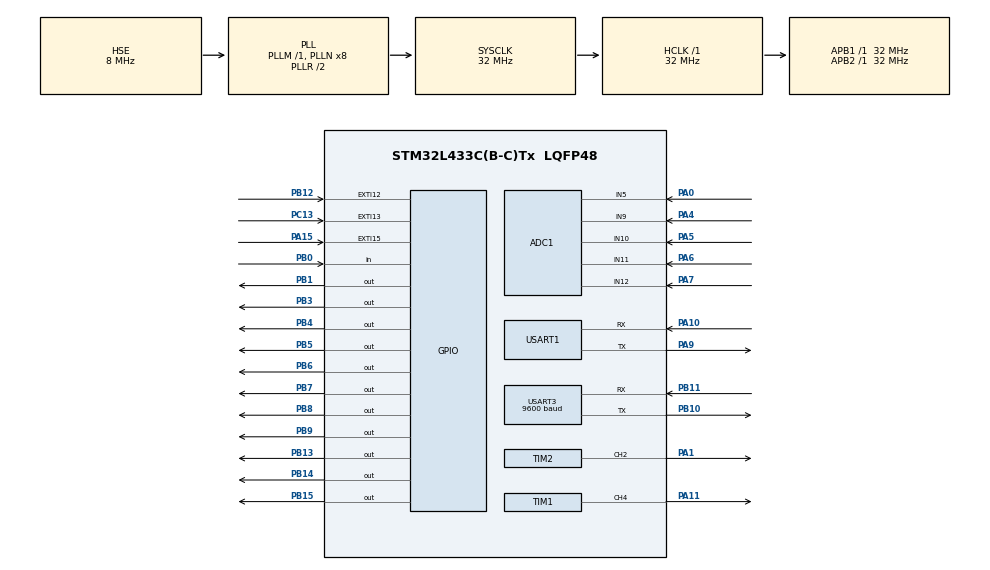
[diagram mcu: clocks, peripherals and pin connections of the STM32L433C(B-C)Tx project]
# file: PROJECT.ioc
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ADC1.Channel-0\#ChannelRegularConversion=ADC_CHANNEL_9
ADC1.Channel-1\#ChannelRegularConversion=ADC_CHANNEL_11
ADC1.Channel-2\#ChannelRegularConversion=ADC_CHANNEL_5
ADC1.Channel-3\#ChannelRegularConversion=ADC_CHANNEL_10
ADC1.Channel-4\#ChannelRegularConversion=ADC_CHANNEL_12
ADC1.ContinuousConvMode=ENABLE
ADC1.DMAContinuousRequests=ENABLE
ADC1.NbrOfConversion=5
ADC1.NbrOfConversionFlag=1
ADC1.OffsetNumber-0\#ChannelRegularConversion=ADC_OFFSET_NONE
ADC1.OffsetNumber-1\#ChannelRegularConversion=ADC_OFFSET_NONE
ADC1.OffsetNumber-2\#ChannelRegularConversion=ADC_OFFSET_NONE
ADC1.OffsetNumber-3\#ChannelRegularConversion=ADC_OFFSET_NONE
ADC1.OffsetNumber-4\#ChannelRegularConversion=ADC_OFFSET_NONE
ADC1.Rank-0\#ChannelRegularConversion=1
ADC1.Rank-1\#ChannelRegularConversion=2
ADC1.Rank-2\#ChannelRegularConversion=3
ADC1.Rank-3\#ChannelRegularConversion=4
ADC1.Rank-4\#ChannelRegularConversion=5
ADC1.SamplingTime-0\#ChannelRegularConversion=ADC_SAMPLETIME_2CYCLES_5
ADC1.SamplingTime-1\#ChannelRegularConversion=ADC_SAMPLETIME_2CYCLES_5
ADC1.SamplingTime-2\#ChannelRegularConversion=ADC_SAMPLETIME_2CYCLES_5
ADC1.SamplingTime-3\#ChannelRegularConversion=ADC_SAMPLETIME_2CYCLES_5
ADC1.SamplingTime-4\#ChannelRegularConversion=ADC_SAMPLETIME_2CYCLES_5
ADC1.master=1
Dma.ADC1.0.Direction=DMA_PERIPH_TO_MEMORY
Dma.ADC1.0.Instance=DMA1_Channel1
Dma.ADC1.0.MemDataAlignment=DMA_MDATAALIGN_HALFWORD
Dma.ADC1.0.MemInc=DMA_MINC_ENABLE
Dma.ADC1.0.Mode=DMA_NORMAL
Dma.ADC1.0.PeriphDataAlignment=DMA_PDATAALIGN_HALFWORD
Dma.ADC1.0.PeriphInc=DMA_PINC_DISABLE
Dma.ADC1.0.Priority=DMA_PRIORITY_LOW
Dma.Request0=ADC1
Mcu.Family=STM32L4
Mcu.Name=STM32L433C(B-C)Tx
Mcu.Package=LQFP48
NVIC.DMA1_Channel1_IRQn=true\:0\:0\:false\:false\:true\:false\:true\:true
NVIC.EXTI15_10_IRQn=true\:4\:0\:true\:false\:true\:true\:true\:true
NVIC.PriorityGroup=NVIC_PRIORITYGROUP_4
NVIC.TIM1_BRK_TIM15_IRQn=true\:0\:0\:false\:false\:true\:true\:true\:true
NVIC.TIM2_IRQn=true\:0\:0\:false\:false\:true\:true\:true\:true
NVIC.USART1_IRQn=true\:3\:0\:true\:false\:true\:true\:true\:true
NVIC.USART3_IRQn=true\:1\:0\:true\:false\:true\:true\:true\:true
PA0.Signal=ADCx_IN5
PA1.Signal=S_TIM2_CH2
PA10.Mode=Asynchronous
PA10.Signal=USART1_RX
PA11.Signal=S_TIM1_CH4
PA15\ (JTDI).GPIO_PuPd=GPIO_PULLUP
PA15\ (JTDI).Signal=GPXTI15
PA4.Signal=ADCx_IN9
PA5.Signal=ADCx_IN10
PA6.Signal=ADCx_IN11
PA7.Signal=ADCx_IN12
PA9.Mode=Asynchronous
PA9.Signal=USART1_TX
PB0.Signal=GPIO_Input
PB1.Signal=GPIO_Output
PB10.Mode=Asynchronous
PB10.Signal=USART3_TX
PB11.Mode=Asynchronous
PB11.Signal=USART3_RX
PB12.GPIO_PuPd=GPIO_PULLUP
PB12.Signal=GPXTI12
PB13.Signal=GPIO_Output
PB14.Signal=GPIO_Output
PB15.Signal=GPIO_Output
PB3\ (JTDO-TRACESWO).Signal=GPIO_Output
PB4\ (NJTRST).PinState=GPIO_PIN_RESET
PB4\ (NJTRST).Signal=GPIO_Output
PB5.PinState=GPIO_PIN_SET
PB5.Signal=GPIO_Output
PB6.PinState=GPIO_PIN_SET
PB6.Signal=GPIO_Output
PB7.PinState=GPIO_PIN_SET
PB7.Signal=GPIO_Output
PB8.Signal=GPIO_Output
PB9.Signal=GPIO_Output
PC13.GPIO_PuPd=GPIO_PULLUP
PC13.Signal=GPXTI13
PC14-OSC32_IN\ (PC14).Mode=LSE-External-Oscillator
PC14-OSC32_IN\ (PC14).Signal=RCC_OSC32_IN
PC15-OSC32_OUT\ (PC15).Mode=LSE-External-Oscillator
PC15-OSC32_OUT\ (PC15).Signal=RCC_OSC32_OUT
PH0-OSC_IN\ (PH0).Mode=HSE-External-Oscillator
PH0-OSC_IN\ (PH0).Signal=RCC_OSC_IN
PH1-OSC_OUT\ (PH1).Mode=HSE-External-Oscillator
PH1-OSC_OUT\ (PH1).Signal=RCC_OSC_OUT
ProjectManager.HeapSize=0x200
ProjectManager.StackSize=0x400
ProjectManager.TargetToolchain=STM32CubeIDE
RCC.ADCFreq_Value=64000000
RCC.AHBFreq_Value=32000000
RCC.APB1Freq_Value=32000000
RCC.APB1TimFreq_Value=32000000
RCC.APB2Freq_Value=32000000
RCC.APB2TimFreq_Value=32000000
RCC.CortexFreq_Value=32000000
RCC.HCLKFreq_Value=32000000
RCC.HSE_VALUE=8000000
RCC.HSI48_VALUE=48000000
RCC.HSI_VALUE=16000000
RCC.MSI_VALUE=4000000
RCC.PLLSAI1N=16
RCC.PLLSourceVirtual=RCC_PLLSOURCE_HSE
RCC.SYSCLKFreq_VALUE=32000000
RCC.SYSCLKSource=RCC_SYSCLKSOURCE_PLLCLK
RCC.USBFreq_Value=64000000
RCC.VCOOutputFreq_Value=64000000
SH.ADCx_IN10.0=ADC1_IN10,IN10-Single-Ended
SH.ADCx_IN11.0=ADC1_IN11,IN11-Single-Ended
SH.ADCx_IN12.0=ADC1_IN12,IN12-Single-Ended
SH.ADCx_IN5.0=ADC1_IN5,IN5-Single-Ended
SH.ADCx_IN9.0=ADC1_IN9,IN9-Single-Ended
SH.S_TIM1_CH4.0=TIM1_CH4,PWM Generation4 CH4
SH.S_TIM2_CH2.0=TIM2_CH2,PWM Generation2 CH2
TIM1.Channel-PWM\ Generation4\ CH4=TIM_CHANNEL_4
TIM1.Period=26
TIM1.Prescaler=32-1
TIM1.Pulse-PWM\ Generation4\ CH4=0
TIM15.Period=100-1
TIM15.Prescaler=32-1
TIM2.Channel-PWM\ Generation2\ CH2=TIM_CHANNEL_2
TIM2.Period=370-1
TIM2.Prescaler=32-1
TIM2.Pulse-PWM\ Generation2\ CH2=180
USART1.VirtualMode-Asynchronous=VM_ASYNC
USART3.BaudRate=9600
USART3.VirtualMode-Asynchronous=VM_ASYNC
VP_TIM15_VS_ClockSourceINT.Mode=Internal
VP_TIM1_VS_ClockSourceINT.Mode=Internal
board=custom

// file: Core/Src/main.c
/* USER CODE BEGIN Header */
/**
 ******************************************************************************
 * @file           : main.c
 * @brief          : Main program body
 ******************************************************************************
 * @attention
 *
 * <h2><center>&copy; Copyright (c) 2019 STMicroelectronics.
 * All rights reserved.</center></h2>
 *
 * This software component is licensed by ST under BSD 3-Clause license,
 * the "License"; You may not use this file except in compliance with the
 * License. You may obtain a copy of the License at:
 *                        opensource.org/licenses/BSD-3-Clause
 *
 ******************************************************************************
 */
/* USER CODE END Header */
#include "main.h"
#include "adc.h"
#include "dma.h"
#include "tim.h"
#include "usart.h"
#include "gpio.h"

/* USER CODE BEGIN Includes */
#include <stdio.h>
#include <string.h>
#include <stdlib.h>
#include <stdbool.h>
#include "oled.h"
#include "utils.h"
#include "nbiot.h"
#include "sht3x.h"
#ifdef KY_005_IR_ENISSION
#include "irsnd.h"
#endif

#ifdef KY_022_IR_RECEIVER
#include "irmp.h"
#endif
/* USER CODE END Includes */

/* USER CODE BEGIN PD */
#define LIGHT_DARK_THRESHOLD            (200U)
#define SOUND_NOTICE_THRESHOLD          (600U)
#define SOUND_SNORE_THRESHOLD           (1200U)
#define SENSOR_POLL_INTERVAL_MS         (1000U)
#define OLED_REFRESH_INTERVAL_MS        (500U)
#define ALARM_DURATION_MS               (5000U)
#define ALARM_DEFAULT_HOUR              (7U)
#define ALARM_DEFAULT_MIN               (0U)
#define SLEEP_CLOCK_START_HOUR          (0U)
#define ALARM_BOOT_DELAY_MS             (30000U)
#define LED_FLASH_INTERVAL_MS           (1000U)
#define MANUAL_ALARM_DELAY_MS           (5000U)
#define TIP_DISPLAY_DURATION_MS         (4000U)
#define CHARGE_VOLTAGE_THRESHOLD_MV     (4100U)
#define MELODY_REST_MS                  (30U)
/* USER CODE END PD */

/* USER CODE BEGIN PV */
extern unsigned char key1, key2;

typedef struct {
	uint8_t hour;
	uint8_t minute;
	uint8_t second;
} SleepClock_t;

static uint8_t gLedPowerOn = 0U;      // LED 总开关状态 (0:关, 1:开)
static uint8_t gHw483LastState = 0U;  // 按钮上一次的电平状态

static SleepClock_t gSleepClock = {SLEEP_CLOCK_START_HOUR, 0U, 0U};
static uint32_t gLastClockTickMs = 0U;
static uint32_t gLastSensorPollMs = 0U;
static uint32_t gLastOledRefreshMs = 0U;
static uint32_t gAlarmStartMs = 0U;
static uint32_t gBootTickMs = 0U;
static uint8_t gAlarmLatched = 0U;
static uint8_t gLedModuleEnabled = 0U;
static uint8_t gOledEnabled = 1U;
static uint8_t gAlarmActive = 0U;
static uint8_t gLedMode = 0U; /* LED_MODE_OFF */
static uint8_t gLedFlashIndex = 0U;
static uint32_t gLastLedFlashTick = 0U;
static float gLastTemp = 0.0f;
static float gLastHumi = 0.0f;
static uint16_t gLastLight = 0U;
static uint16_t gLastSound = 0U;
static uint16_t gLastVoltage = 0U;
static uint8_t gCurrentPage = 0U;
static char gPageTipBuf[32] = {0};
static uint8_t gTipPageActive = 0U;
static uint8_t gTipReturnPage = 0U;
static uint8_t gTipPrevPage = 0U;
static uint8_t gManualAlarmCountdownActive = 0U;
static uint32_t gManualAlarmTargetTick = 0U;
static uint8_t gLastRenderedPage = 0xFFU;
static uint8_t gOledNeedsFullRefresh = 1U;
static uint8_t gMelodyPlaying = 0U;
static size_t gMelodyIndex = 0U;
static uint32_t gMelodyStepEndMs = 0U;
static uint8_t gMelodyInPause = 0U;

enum
{
	LED_MODE_OFF = 0,
	LED_MODE_WHITE,
	LED_MODE_BLUE,
	LED_MODE_RED,
	LED_MODE_GREEN,
	LED_MODE_FLASH,
	LED_MODE_COUNT
};

enum
{
	OLED_PAGE_SENSORS_1 = 0,
	OLED_PAGE_SENSORS_2,
	OLED_PAGE_LED,
	OLED_PAGE_ALARM,
	OLED_PAGE_COUNT
};

/* USER CODE END PV */

void SystemClock_Config(void);

/* USER CODE BEGIN 0 */
static void SleepClock_Tick(void);
static void SleepClock_Format(char *pcBuf, size_t bufLen);
static bool SleepEnvironment_Comfort(float temp, float humi);
static uint8_t SleepComfort_Score(float temp, float humi, uint16_t soundLevel, uint16_t lightLevel);
static const char *SleepComfort_Tip(float temp, float humi, uint16_t soundLevel, uint16_t lightLevel);
static void SleepTracker_HandleKeys(void);
static void SleepTracker_UpdateSensors(void);
static void SleepTracker_UpdateAlarm(void);
static void SleepTracker_ShowBootScreen(void);
static uint32_t SleepTracker_GetTim2ClockHz(void);
static void SleepTracker_BuzzerStartTone(uint16_t freq);
static void SleepTracker_BuzzerStopTone(void);
static void SleepTracker_SetRgb(uint8_t rOn, uint8_t gOn, uint8_t bOn);
static void SleepTracker_DrawPageSensors1(void);
static void SleepTracker_DrawPageSensors2(void);
static void SleepTracker_DrawPageLed(void);
static void SleepTracker_DrawPageAlarm(void);
static void SleepTracker_DrawPageTip(void);
static void SleepTracker_HandleAlarmToggle(void);
static const char *SleepTracker_LedModeName(uint8_t mode);
static uint16_t SleepTracker_BatteryMv(uint16_t raw);
static void SleepTracker_MelodyStart(void);
static void SleepTracker_MelodyStop(void);
static void SleepTracker_MelodyTask(void);

typedef struct {
	uint16_t freq;
	uint16_t durationMs;
} ToneStep_t;

static const ToneStep_t gJingleBells[] = {
		{523, 150}, {0, 50}, {523, 150}, {0, 50}, // Do, Do
		    {659, 150}, {0, 50}, {659, 150}, {0, 50}, // Mi, Mi
		    {783, 400}, {0, 100},                     // Sol
		    {659, 200}, {783, 200}, {1046, 600},      // Mi Sol Do(High)
		    {0, 400},                                 // 休止
		    {1046, 200}, {783, 200}, {659, 200}, {523, 600} // Do(H) Sol Mi Do
};
static const size_t gJingleBellCount = sizeof(gJingleBells)/sizeof(gJingleBells[0]);

static void SleepTracker_HandleAlarmToggle(void)
{
	uint32_t now = HAL_GetTick();
	if(gAlarmActive) {
		gAlarmActive = 0U;
		Beep_Switch(0);
		return;
	}
	if(gManualAlarmCountdownActive) {
		gManualAlarmCountdownActive = 0U;
		return;
	}
	gManualAlarmCountdownActive = 1U;
	gManualAlarmTargetTick = now + MANUAL_ALARM_DELAY_MS;
}

static const char *SleepTracker_LedModeName(uint8_t mode)
{
	switch(mode) {
		case LED_MODE_OFF:   return "Off";
		case LED_MODE_WHITE: return "White";
		case LED_MODE_BLUE:  return "Green";
		case LED_MODE_RED:   return "Blue";
		case LED_MODE_GREEN: return "Red";
		case LED_MODE_FLASH: return "Flash";
		default: return "Unknown";
	}
}

static void SleepTracker_DrawPageSensors1(void)
{
	char buf[24] = {0};
	char timeBuf[12] = {0};
	SleepClock_Format(timeBuf, sizeof(timeBuf));
	snprintf(buf, sizeof(buf), "Time %s", timeBuf);
	OLED_ShowString(0, 0, (uint8_t *)buf, 8);
	snprintf(buf, sizeof(buf), "Temp:%4.1fC", gLastTemp);
	OLED_ShowString(0, 1, (uint8_t *)buf, 8);
	snprintf(buf, sizeof(buf), "Humi:%4.1f%%", gLastHumi);
	OLED_ShowString(0, 2, (uint8_t *)buf, 8);
	snprintf(buf, sizeof(buf), "Light:%04u", gLastLight);
	OLED_ShowString(0, 3, (uint8_t *)buf, 8);
	snprintf(buf, sizeof(buf), "Sound:%04u", gLastSound);
	OLED_ShowString(0, 4, (uint8_t *)buf, 8);
}

static void SleepTracker_DrawPageSensors2(void)
{
	char buf[24] = {0};
	uint8_t score = SleepComfort_Score(gLastTemp, gLastHumi, gLastSound, gLastLight);
	uint16_t batteryMv = SleepTracker_BatteryMv(gLastVoltage);
	bool charging = (batteryMv >= CHARGE_VOLTAGE_THRESHOLD_MV);
	snprintf(buf, sizeof(buf), "Volt:%04umV", batteryMv);
	OLED_ShowString(0, 0, (uint8_t *)buf, 8);
	snprintf(buf, sizeof(buf), "Charge:%s", charging ? "Yes" : "No");
	OLED_ShowString(0, 1, (uint8_t *)buf, 8);
	snprintf(buf, sizeof(buf), "Env:%3u%%", score);
	OLED_ShowString(0, 2, (uint8_t *)buf, 8);
	snprintf(buf, sizeof(buf), "Noise:%04u", gLastSound);
	OLED_ShowString(0, 3, (uint8_t *)buf, 8);
	OLED_ShowString(0, 4, (uint8_t *)"K2:Sleep tips", 8);
}

static void SleepTracker_DrawPageLed(void)
{
	char buf[24] = {0};
	snprintf(buf, sizeof(buf), "LED:%s", SleepTracker_LedModeName(gLedMode));
	OLED_ShowString(0, 0, (uint8_t *)buf, 8);
	OLED_ShowString(0, 1, (uint8_t *)"Seq:Off-W-G-B-R-F", 4);
	snprintf(buf, sizeof(buf), "Flash:%s", (LED_MODE_FLASH == gLedMode) ? "On" : "Off");
	OLED_ShowString(0, 2, (uint8_t *)buf, 8);
	OLED_ShowString(0, 3, (uint8_t *)"K2 cycle mode", 8);
}

static void SleepTracker_DrawPageAlarm(void)
{
	char buf[24] = {0};
	uint32_t now = HAL_GetTick();
	uint32_t remainingMs = 0U;
	if(gManualAlarmCountdownActive && gManualAlarmTargetTick > now) {
		remainingMs = gManualAlarmTargetTick - now;
	}
	snprintf(buf, sizeof(buf), "Alarm:%s", gAlarmActive ? "Ringing" : (gManualAlarmCountdownActive ? "Pending" : "Idle"));
	OLED_ShowString(0, 0, (uint8_t *)buf, 8);
	if(gManualAlarmCountdownActive) {
		snprintf(buf, sizeof(buf), "Countdown:%lus", (unsigned long)((remainingMs + 999U) / 1000U));
	} else {
		strncpy(buf, "Countdown:--", sizeof(buf) - 1U);
	}
	OLED_ShowString(0, 1, (uint8_t *)buf, 8);
	OLED_ShowString(0, 2, (uint8_t *)"K2 start/stop", 8);
	OLED_ShowString(0, 3, (uint8_t *)"2nd tap cancels", 8);
}

static void SleepTracker_DrawPageTip(void)
{
	OLED_ShowString(0, 0, (uint8_t *)"Sleep Tip", 8);
	OLED_ShowString(0, 2, (uint8_t *)gPageTipBuf, 8);
	OLED_ShowString(0, 3, (uint8_t *)(gPageTipBuf + 16), 8);
	OLED_ShowString(0, 5, (uint8_t *)"K2 to return", 8);
}

static void SleepClock_Tick(void)
{
	uint32_t nowMs = HAL_GetTick();
	if(0U == gLastClockTickMs) {
		gLastClockTickMs = nowMs;
	}
	if(nowMs < gLastClockTickMs + 1000U) {
		return;
	}
	uint32_t elapsed = (nowMs - gLastClockTickMs) / 1000U;
	gLastClockTickMs += elapsed * 1000U;
	while(elapsed--) {
		gSleepClock.second++;
		if(gSleepClock.second >= 60U) {
			gSleepClock.second = 0U;
			gSleepClock.minute++;
			if(gSleepClock.minute >= 60U) {
				gSleepClock.minute = 0U;
				gSleepClock.hour++;
				if(gSleepClock.hour >= 24U) {
					gSleepClock.hour = 0U;
				}
			}
		}
	}
}

static void SleepClock_Format(char *pcBuf, size_t bufLen)
{
	snprintf(pcBuf, bufLen, "%02u:%02u:%02u", gSleepClock.hour, gSleepClock.minute, gSleepClock.second);
}

static bool SleepEnvironment_Comfort(float temp, float humi)
{
	return (temp >= 18.0f && temp <= 26.5f) && (humi >= 40.0f && humi <= 65.0f);
}

static uint8_t SleepComfort_Score(float temp, float humi, uint16_t soundLevel, uint16_t lightLevel)
{
	uint8_t score = 100U;
	if(temp < 18.0f) {
		score -= (uint8_t)((18.0f - temp) * 2.0f);
	} else if(temp > 26.5f) {
		score -= (uint8_t)((temp - 26.5f) * 2.0f);
	}
	if(humi < 40.0f) {
		score -= (uint8_t)((40.0f - humi));
	} else if(humi > 65.0f) {
		score -= (uint8_t)((humi - 65.0f));
	}
	if(soundLevel >= SOUND_SNORE_THRESHOLD) {
		score -= 40U;
	} else if(soundLevel >= SOUND_NOTICE_THRESHOLD) {
		score -= 20U;
	}
	if(lightLevel > LIGHT_DARK_THRESHOLD) {
		score -= 15U;
	}
	if(score > 100U) {
		score = 0U;
	}
	return score;
}

static const char *SleepComfort_Tip(float temp, float humi, uint16_t soundLevel, uint16_t lightLevel)
{
	if(soundLevel >= SOUND_SNORE_THRESHOLD) {
		return "Tip:Noise very high";
	}
	if(soundLevel >= SOUND_NOTICE_THRESHOLD) {
		return "Tip:Noise slightly high";
	}
	if(lightLevel > LIGHT_DARK_THRESHOLD) {
		return "Tip:Dim the lights";
	}
	if(temp < 18.0f) {
		return "Tip:Room too cold";
	}
	if(temp > 26.5f) {
		return "Tip:Lower temp";
	}
	if(humi < 40.0f) {
		return "Tip:Add humidity";
	}
	if(humi > 65.0f) {
		return "Tip:Dry the air";
	}
	return "Tip:Environment ok";
}

static void SleepTracker_HandleKeys(void)
{
	if(1 == key1) {
		key1 = 0;
		if(gTipPageActive) {
			gTipPageActive = 0U;
			gCurrentPage = (gTipPrevPage + 1U) % OLED_PAGE_COUNT;
		} else {
			gCurrentPage = (gCurrentPage + 1U) % OLED_PAGE_COUNT;
		}
		memset(gPageTipBuf, 0, sizeof(gPageTipBuf));
		gOledNeedsFullRefresh = 1U;
	}
	if(1 == key2) {
		key2 = 0;
		if(gAlarmActive) {
			gAlarmActive = 0U;
			gManualAlarmCountdownActive = 0U;
			SleepTracker_MelodyStop();
			gOledNeedsFullRefresh = 1U;
			return;
		}
		if(gTipPageActive) {
			gTipPageActive = 0U;
			gCurrentPage = gTipReturnPage % OLED_PAGE_COUNT;
			gOledNeedsFullRefresh = 1U;
			return;
		}
		switch(gCurrentPage) {
			case OLED_PAGE_SENSORS_2:
			{
				const char *tip = SleepComfort_Tip(gLastTemp, gLastHumi, gLastSound, gLastLight);
				strncpy(gPageTipBuf, tip, sizeof(gPageTipBuf)-1U);
				gPageTipBuf[sizeof(gPageTipBuf)-1U] = '\0';
				gTipPrevPage = gCurrentPage;
				gTipReturnPage = gCurrentPage;
				gTipPageActive = 1U;
				gOledNeedsFullRefresh = 1U;
				break;
			}
			case OLED_PAGE_LED:
//				gLedMode = (gLedMode + 1U) % LED_MODE_COUNT;
//				gLedModuleEnabled = (gLedMode != LED_MODE_OFF);
//				if(LED_MODE_FLASH == gLedMode) {
//					gLedFlashIndex = 0U;
//					gLastLedFlashTick = 0U;
//				}
//				gOledNeedsFullRefresh = 1U;
//				break;
				gLedMode++;
				                if (gLedMode >= LED_MODE_COUNT) {
				                    gLedMode = LED_MODE_WHITE; // 跳过 0，回到 1
				                }

				                // 确保总开关是开的，否则用户调颜色时看不到效果
				                if (!gLedPowerOn) {
				                    gLedPowerOn = 1U;
				                }

				                if(LED_MODE_FLASH == gLedMode) {
				                    gLedFlashIndex = 0U;
				                    gLastLedFlashTick = 0U;
				                }
				                gOledNeedsFullRefresh = 1U;
				                break;
			case OLED_PAGE_ALARM:
				SleepTracker_HandleAlarmToggle();
				gOledNeedsFullRefresh = 1U;
				break;
			default:
				break;
		}
	}
}

static void SleepTracker_UpdateSensors(void)
{
	uint32_t nowMs = HAL_GetTick();
	if((nowMs - gLastSensorPollMs) < SENSOR_POLL_INTERVAL_MS) {
		return;
	}
	gLastSensorPollMs = nowMs;
	SHT3X_GetTempAndHumi(&gLastTemp, &gLastHumi, REPEATAB_HIGH, MODE_CLKSTRETCH, 6);
	KE1_ADC_Senser_Get(&gLastLight, &gLastSound, &gLastVoltage);
}

static uint32_t SleepTracker_GetTim2ClockHz(void)
{
	uint32_t pclk1 = HAL_RCC_GetPCLK1Freq();
	if((RCC->CFGR & RCC_CFGR_PPRE1) != RCC_CFGR_PPRE1_DIV1) {
		pclk1 *= 2U;
	}
	return pclk1;
}

static void SleepTracker_BuzzerStartTone(uint16_t freq)
{
	if(0U == freq) {
		SleepTracker_BuzzerStopTone();
		return;
	}
	uint32_t timerClk = SleepTracker_GetTim2ClockHz();
	uint32_t period = timerClk / (((uint32_t)htim2.Init.Prescaler + 1U) * (uint32_t)freq);
	if(period == 0U) {
		period = 1U;
	}
	__HAL_TIM_SET_AUTORELOAD(&htim2, period - 1U);
	__HAL_TIM_SET_COMPARE(&htim2, TIM_CHANNEL_2, (period - 1U)/2U);
	HAL_TIM_PWM_Start(&htim2, TIM_CHANNEL_2);
}

static void SleepTracker_BuzzerStopTone(void)
{
	HAL_TIM_PWM_Stop(&htim2, TIM_CHANNEL_2);
}

static void SleepTracker_MelodyStart(void)
{
	gMelodyPlaying = 1U;
	gMelodyIndex = 0U;
	gMelodyStepEndMs = 0U;
	gMelodyInPause = 1U;
	Beep_Switch(1);
}

static void SleepTracker_MelodyStop(void)
{
	if(!gMelodyPlaying && gAlarmActive == 0U) {
		SleepTracker_BuzzerStopTone();
		Beep_Switch(0);
		return;
	}
	gMelodyPlaying = 0U;
	gMelodyIndex = 0U;
	gMelodyStepEndMs = 0U;
	gMelodyInPause = 0U;
	SleepTracker_BuzzerStopTone();
	Beep_Switch(0);
}

// HW483
static void SleepTracker_PollExternalButton(void)
{
    // 读取 PA7 状态
    uint8_t currentState = HAL_GPIO_ReadPin(GPIOA, GPIO_PIN_7);

    // 检测上升沿 (从 0 变 1)
    if(currentState == 1 && gHw483LastState == 0) {
        // 切换 LED 总电源状态
        gLedPowerOn = !gLedPowerOn;

        // 如果开启了电源且当前 LED 模式是 OFF，自动设为白色，避免开启后没反应
        if(gLedPowerOn && gLedMode == LED_MODE_OFF) {
            gLedMode = LED_MODE_WHITE;
        }

        // 触发屏幕刷新以显示状态
        gOledNeedsFullRefresh = 1U;

    }
    gHw483LastState = currentState;
}

static void SleepTracker_MelodyTask(void)
{
	if(!gMelodyPlaying || 0U == gAlarmActive) {
		if(gMelodyPlaying) {
			SleepTracker_MelodyStop();
		}
		return;
	}
	uint32_t now = HAL_GetTick();
	if(gMelodyStepEndMs != 0U && now < gMelodyStepEndMs) {
		return;
	}
	if(gMelodyInPause) {
		if(gMelodyIndex >= gJingleBellCount) {
			gMelodyIndex = 0U;
		}
		const ToneStep_t *step = &gJingleBells[gMelodyIndex++];
		SleepTracker_BuzzerStartTone(step->freq);
		gMelodyStepEndMs = now + step->durationMs;
		gMelodyInPause = 0U;
		return;
	}
	SleepTracker_BuzzerStopTone();
	gMelodyInPause = 1U;
	gMelodyStepEndMs = now + MELODY_REST_MS;
}

static uint16_t SleepTracker_BatteryMv(uint16_t raw)
{
	uint32_t mv = ((uint32_t)raw * 3300U * 2U) / 4095U;
	if(mv > 5000U) {
		mv = 5000U;
	}
	return (uint16_t)mv;
}

static void SleepTracker_ShowBootScreen(void)
{
	float bootTemp = 0.0f, bootHumi = 0.0f;
	uint16_t bootLight = 0U, bootSound = 0U, bootVoltage = 0U;
	SHT3X_GetTempAndHumi(&bootTemp, &bootHumi, REPEATAB_HIGH, MODE_CLKSTRETCH, 6);
	KE1_ADC_Senser_Get(&bootLight, &bootSound, &bootVoltage);
	OLED_Clear();
	OLED_ShowString(0, 0, (uint8_t *)" HELLO", 16);
	OLED_ShowString(0, 2, (uint8_t *)" WORLD", 16);
	static const char *bootTree[] = {
		"  *  ",
		" *** ",
		"*****",
		"  I  "
	};
	for(uint8_t i = 0; i < (sizeof(bootTree)/sizeof(bootTree[0])); ++i) {
		OLED_ShowString(70, i, (uint8_t *)bootTree[i], 8);
	}
	HAL_Delay(1500);
	OLED_Clear();
	char lineBuf[22] = {0};
	snprintf(lineBuf, sizeof(lineBuf), "Temp:%4.1fC", bootTemp);
	OLED_ShowString(0, 0, (uint8_t *)lineBuf, 12);
	snprintf(lineBuf, sizeof(lineBuf), "Humi:%4.1f%%", bootHumi);
	OLED_ShowString(0, 2, (uint8_t *)lineBuf, 12);
	snprintf(lineBuf, sizeof(lineBuf), "Light:%04u", bootLight);
	OLED_ShowString(0, 4, (uint8_t *)lineBuf, 12);
	snprintf(lineBuf, sizeof(lineBuf), "Sound:%04u", bootSound);
	OLED_ShowString(0, 6, (uint8_t *)lineBuf, 12);
	snprintf(lineBuf, sizeof(lineBuf), "Volt:%04umV", bootVoltage);
	OLED_ShowString(0, 7, (uint8_t *)lineBuf, 12);
	HAL_Delay(1500);
	// SleepTracker_PlayJingleBell();
}

static void SleepTracker_UpdateAlarm(void)
{
	uint32_t now = HAL_GetTick();
	if(0U == gBootTickMs) {
		gBootTickMs = now;
	}
	bool allowAutoAlarm = ((now - gBootTickMs) >= ALARM_BOOT_DELAY_MS);
	if(allowAutoAlarm) {
		if(0U == gAlarmLatched && gSleepClock.hour == ALARM_DEFAULT_HOUR && gSleepClock.minute == ALARM_DEFAULT_MIN) {
			gAlarmLatched = 1U;
			gAlarmActive = 1U;
			gAlarmStartMs = now;
			SleepTracker_MelodyStart();
			SleepTracker_MelodyTask();
		}
		if(gSleepClock.hour != ALARM_DEFAULT_HOUR || gSleepClock.minute != ALARM_DEFAULT_MIN) {
			gAlarmLatched = 0U;
		}
	}
	if(gManualAlarmCountdownActive && !gAlarmActive) {
		if(now >= gManualAlarmTargetTick) {
			gManualAlarmCountdownActive = 0U;
			gAlarmActive = 1U;
			gAlarmStartMs = now;
			SleepTracker_MelodyStart();
			SleepTracker_MelodyTask();
		}
	}
	if(gAlarmActive) {
		if((now - gAlarmStartMs) >= ALARM_DURATION_MS) {
			gAlarmActive = 0U;
			SleepTracker_MelodyStop();
		}
	}
	SleepTracker_MelodyTask();
}

static void SleepTracker_SetRgb(uint8_t rOn, uint8_t gOn, uint8_t bOn)
{
	HAL_GPIO_WritePin(GPIOB, GPIO_PIN_5, rOn ? GPIO_PIN_RESET : GPIO_PIN_SET);
	HAL_GPIO_WritePin(GPIOB, GPIO_PIN_6, gOn ? GPIO_PIN_RESET : GPIO_PIN_SET);
	HAL_GPIO_WritePin(GPIOB, GPIO_PIN_7, bOn ? GPIO_PIN_RESET : GPIO_PIN_SET);
}

static void SleepTracker_UpdateLed(bool envComfortable)
{
	(void)envComfortable;
//	if(LED_MODE_OFF == gLedMode) {
//		SleepTracker_SetRgb(0U, 0U, 0U);
//		gLedModuleEnabled = 0U;
//		return;
//	}

	if(0U == gLedPowerOn || LED_MODE_OFF == gLedMode) {
	        SleepTracker_SetRgb(0U, 0U, 0U);
	        gLedModuleEnabled = 0U;
	        return;
	    }

	gLedModuleEnabled = 1U;
	if(LED_MODE_FLASH == gLedMode) {
		uint32_t now = HAL_GetTick();
		if((now - gLastLedFlashTick) >= LED_FLASH_INTERVAL_MS) {
			gLastLedFlashTick = now;
			gLedFlashIndex = (gLedFlashIndex + 1U) % 3U;
		}
		switch(gLedFlashIndex) {
			case 0: SleepTracker_SetRgb(1U, 0U, 0U); break;
			case 1: SleepTracker_SetRgb(0U, 1U, 0U); break;
			default: SleepTracker_SetRgb(0U, 0U, 1U); break;
		}
		return;
	}
	switch(gLedMode) {
		case LED_MODE_WHITE:
			SleepTracker_SetRgb(1U, 1U, 1U);
			break;
		case LED_MODE_BLUE:
			SleepTracker_SetRgb(0U, 0U, 1U);
			break;
		case LED_MODE_RED:
			SleepTracker_SetRgb(1U, 0U, 0U);
			break;
		case LED_MODE_GREEN:
			SleepTracker_SetRgb(0U, 1U, 0U);
			break;
		default:
			SleepTracker_SetRgb(0U, 0U, 0U);
			break;
	}
}

static void SleepTracker_UpdateOled(bool envComfortable)
{
	if(!gOledEnabled) {
		return;
	}
	uint32_t nowMs = HAL_GetTick();
	if((nowMs - gLastOledRefreshMs) < OLED_REFRESH_INTERVAL_MS) {
		return;
	}
	gLastOledRefreshMs = nowMs;
	uint8_t currentDisplayPage = gTipPageActive ? 0xFEU : gCurrentPage;
	bool pageChanged = (currentDisplayPage != gLastRenderedPage);
	if(pageChanged || gOledNeedsFullRefresh) {
		OLED_Clear();
		gOledNeedsFullRefresh = 0U;
	}
	if(gTipPageActive) {
		SleepTracker_DrawPageTip();
	} else {
		switch(gCurrentPage) {
			case OLED_PAGE_SENSORS_1:
				SleepTracker_DrawPageSensors1();
				break;
			case OLED_PAGE_SENSORS_2:
				SleepTracker_DrawPageSensors2();
				break;
			case OLED_PAGE_LED:
				SleepTracker_DrawPageLed();
				break;
			case OLED_PAGE_ALARM:
				SleepTracker_DrawPageAlarm();
				break;
			default:
				SleepTracker_DrawPageSensors1();
				break;
		}
	}
	gLastRenderedPage = currentDisplayPage;
}

/* USER CODE END 0 */

int main(void)
{

  /* MCU Configuration--------------------------------------------------------*/

  /* Reset of all peripherals, Initializes the Flash interface and the Systick. */
  HAL_Init();

  /* Configure the system clock */
  SystemClock_Config();

  /* Initialize all configured peripherals */
  MX_GPIO_Init();
  MX_DMA_Init();
  MX_ADC1_Init();
  MX_USART1_UART_Init();
  MX_USART3_UART_Init();
  MX_TIM2_Init();
  MX_TIM1_Init();
  MX_TIM15_Init();
  /* USER CODE BEGIN 2 */
	Beep_Switch(0);
	UART_Enable_Receive_IT();
	OLED_Init();
	SHT3X_SetI2cAdr(0x44);

	// HW483
	GPIO_InitTypeDef GPIO_InitStruct = {0};
	__HAL_RCC_GPIOA_CLK_ENABLE(); // 确保 GPIOA 时钟开启
	GPIO_InitStruct.Pin = GPIO_PIN_7;
	GPIO_InitStruct.Mode = GPIO_MODE_INPUT;
	GPIO_InitStruct.Pull = GPIO_PULLDOWN; // 假设按下输出高电平，平时下拉
	HAL_GPIO_Init(GPIOA, &GPIO_InitStruct);

	SleepTracker_ShowBootScreen();
	gLastClockTickMs = HAL_GetTick();
	gBootTickMs = gLastClockTickMs;
  /* USER CODE END 2 */

  /* Infinite loop */
	while (1)
	{

    /* USER CODE BEGIN 3 */

		SleepTracker_PollExternalButton();
    SleepClock_Tick();
    SleepTracker_HandleKeys();
    SleepTracker_UpdateSensors();
    bool envComfortable = SleepEnvironment_Comfort(gLastTemp, gLastHumi);
    SleepTracker_UpdateLed(envComfortable);
    SleepTracker_UpdateAlarm();
    SleepTracker_UpdateOled(envComfortable);
    HAL_Delay(50);
	}
  /* USER CODE END 3 */
}

void SystemClock_Config(void)
{
  RCC_OscInitTypeDef RCC_OscInitStruct = {0};
  RCC_ClkInitTypeDef RCC_ClkInitStruct = {0};
  RCC_PeriphCLKInitTypeDef PeriphClkInit = {0};

  /** Initializes the RCC Oscillators according to the specified parameters
  * in the RCC_OscInitTypeDef structure.
  */
  RCC_OscInitStruct.OscillatorType = RCC_OSCILLATORTYPE_HSE;
  RCC_OscInitStruct.HSEState = RCC_HSE_ON;
  RCC_OscInitStruct.PLL.PLLState = RCC_PLL_ON;
  RCC_OscInitStruct.PLL.PLLSource = RCC_PLLSOURCE_HSE;
  RCC_OscInitStruct.PLL.PLLM = 1;
  RCC_OscInitStruct.PLL.PLLN = 8;
  RCC_OscInitStruct.PLL.PLLP = RCC_PLLP_DIV7;
  RCC_OscInitStruct.PLL.PLLQ = RCC_PLLQ_DIV2;
  RCC_OscInitStruct.PLL.PLLR = RCC_PLLR_DIV2;
  if (HAL_RCC_OscConfig(&RCC_OscInitStruct) != HAL_OK)
  {
    Error_Handler();
  }
  /** Initializes the CPU, AHB and APB buses clocks
  */
  RCC_ClkInitStruct.ClockType = RCC_CLOCKTYPE_HCLK|RCC_CLOCKTYPE_SYSCLK
                              |RCC_CLOCKTYPE_PCLK1|RCC_CLOCKTYPE_PCLK2;
  RCC_ClkInitStruct.SYSCLKSource = RCC_SYSCLKSOURCE_PLLCLK;
  RCC_ClkInitStruct.AHBCLKDivider = RCC_SYSCLK_DIV1;
  RCC_ClkInitStruct.APB1CLKDivider = RCC_HCLK_DIV1;
  RCC_ClkInitStruct.APB2CLKDivider = RCC_HCLK_DIV1;

  if (HAL_RCC_ClockConfig(&RCC_ClkInitStruct, FLASH_LATENCY_1) != HAL_OK)
  {
    Error_Handler();
  }
  PeriphClkInit.PeriphClockSelection = RCC_PERIPHCLK_USART1|RCC_PERIPHCLK_USART3
                              |RCC_PERIPHCLK_ADC;
  PeriphClkInit.Usart1ClockSelection = RCC_USART1CLKSOURCE_PCLK2;
  PeriphClkInit.Usart3ClockSelection = RCC_USART3CLKSOURCE_PCLK1;
  PeriphClkInit.AdcClockSelection = RCC_ADCCLKSOURCE_PLLSAI1;
  PeriphClkInit.PLLSAI1.PLLSAI1Source = RCC_PLLSOURCE_HSE;
  PeriphClkInit.PLLSAI1.PLLSAI1M = 1;
  PeriphClkInit.PLLSAI1.PLLSAI1N = 16;
  PeriphClkInit.PLLSAI1.PLLSAI1P = RCC_PLLP_DIV7;
  PeriphClkInit.PLLSAI1.PLLSAI1Q = RCC_PLLQ_DIV2;
  PeriphClkInit.PLLSAI1.PLLSAI1R = RCC_PLLR_DIV2;
  PeriphClkInit.PLLSAI1.PLLSAI1ClockOut = RCC_PLLSAI1_ADC1CLK;
  if (HAL_RCCEx_PeriphCLKConfig(&PeriphClkInit) != HAL_OK)
  {
    Error_Handler();
  }
  /** Configure the main internal regulator output voltage
  */
  if (HAL_PWREx_ControlVoltageScaling(PWR_REGULATOR_VOLTAGE_SCALE1) != HAL_OK)
  {
    Error_Handler();
  }
}

void Error_Handler(void)
{
}

/************************ (C) COPYRIGHT STMicroelectronics *****END OF FILE****/
